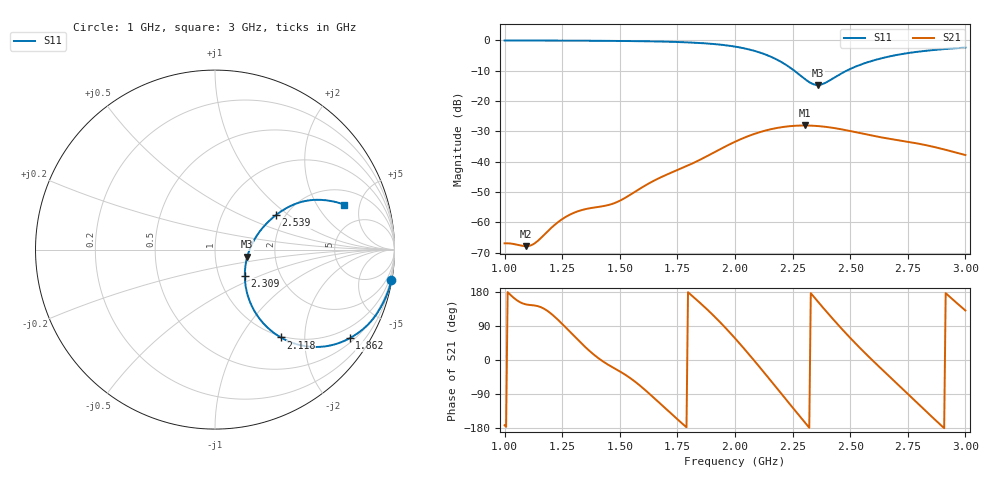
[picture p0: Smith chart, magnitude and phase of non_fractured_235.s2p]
! TOUCHSTONE file generated by CST MICROWAVE STUDIO
! Date and time: Sat Mar  8 13:55:41 2025
! Project name: non_fractured.cst
! Parameters = {B=2.5; D=160; F=25; Feed=2.85625; L=100; M=20; R=0.384908; S=2; Theta=180; length=57.125; wave=114.25}
! Header version: 2024
! Port assignment regex: !\s*Touchstone port\s*([0-9]+)\s*=\s*(CST MWS port|CST DES external port|CST DES block port)\s*(.+)\s* \(\"(.*)\"\)(\s*mode\s*([0-9]+))?.*
! Touchstone port assignment:
! Touchstone port 1 = CST MWS port 1 ("")
! Touchstone port 2 = CST MWS port 2 ("")
# GHz S DB R 50
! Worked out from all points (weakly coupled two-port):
!   305 points, 1 GHz to 3 GHz, reference 50 ohm
!   highest |S21| = -28.08 dB at 2.303 GHz (marker M1); lowest = -67.9 dB at 1.092 GHz (marker M2)
!   lowest |S11| = -14.7 dB at 2.362 GHz (marker M3), VSWR 1.45, Z = 71.6 - j5.88 ohm
!   |S11| at or under -10 dB: 2.258 GHz to 2.484 GHz (226.6 MHz wide, 9.56 % of centre)
!   S12 and S22 are empty: the file has one direction only
!   S11 on the Smith chart (normalised r, x): 1 GHz: 0, -12; 1.862 GHz: 0.63, -3.23; 2.118 GHz: 0.98, -1.53; 2.309 GHz: 1.33, -0.41; 2.539 GHz: 1.79, +0.81; 3 GHz: 2.98, +3.55
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1  -0.02 -9.8  -66.96 -172.0  -200.00 0.0  -200.00 0.0
1.09211  -0.03 -11.0  -67.89 146.8  -200.00 0.0  -200.00 0.0
1.13158  -0.04 -11.6  -66.90 143.8  -200.00 0.0  -200.00 0.0
1.21053  -0.05 -12.9  -61.31 117.8  -200.00 0.0  -200.00 0.0
1.25658  -0.07 -13.7  -58.65 91.2  -200.00 0.0  -200.00 0.0
1.33553  -0.10 -15.1  -55.97 42.7  -200.00 0.0  -200.00 0.0
1.48026  -0.17 -18.3  -53.58 -23.3  -200.00 0.0  -200.00 0.0
1.67105  -0.36 -24.2  -45.42 -112.8  -200.00 0.0  -200.00 0.0
1.86184  -0.93 -33.3  -38.85 143.2  -200.00 0.0  -200.00 0.0
2  -2.05 -43.3  -33.44 57.4  -200.00 0.0  -200.00 0.0
2.11842  -4.27 -53.2  -30.03 -27.2  -200.00 0.0  -200.00 0.0
2.21053  -7.55 -57.4  -28.55 -95.8  -200.00 0.0  -200.00 0.0
2.30263  -12.71 -44.0  -28.08 -164.4  -200.00 0.0  -200.00 0.0
2.30921  -13.09 -41.5  -28.08 -169.2  -200.00 0.0  -200.00 0.0
2.33553  -14.31 -28.4  -28.14 171.5  -200.00 0.0  -200.00 0.0
2.36184  -14.70 -12.4  -28.28 152.6  -200.00 0.0  -200.00 0.0
2.39474  -13.90 5.5  -28.53 129.2  -200.00 0.0  -200.00 0.0
2.44737  -11.53 21.6  -29.14 93.0  -200.00 0.0  -200.00 0.0
2.53947  -8.17 29.5  -30.54 33.5  -200.00 0.0  -200.00 0.0
2.67105  -5.28 29.0  -32.47 -43.9  -200.00 0.0  -200.00 0.0
2.83553  -3.37 23.9  -34.67 -138.9  -200.00 0.0  -200.00 0.0
3  -2.36 19.1  -37.83 130.7  -200.00 0.0  -200.00 0.0
